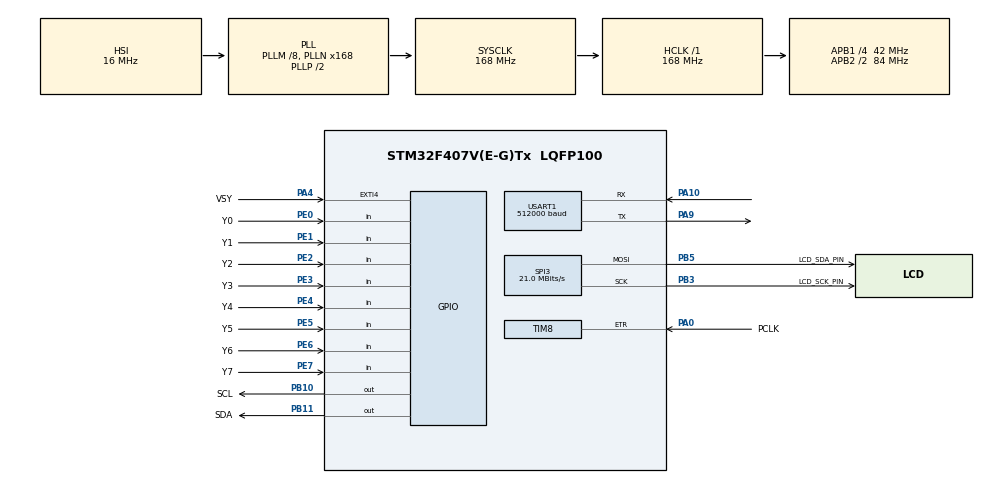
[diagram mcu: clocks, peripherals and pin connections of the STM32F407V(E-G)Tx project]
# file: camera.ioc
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Dma.Request0=TIM8_CH4/TRIG/COM
Dma.TIM8_CH4/TRIG/COM.0.Direction=DMA_PERIPH_TO_MEMORY
Dma.TIM8_CH4/TRIG/COM.0.FIFOMode=DMA_FIFOMODE_DISABLE
Dma.TIM8_CH4/TRIG/COM.0.Instance=DMA2_Stream7
Dma.TIM8_CH4/TRIG/COM.0.MemDataAlignment=DMA_MDATAALIGN_BYTE
Dma.TIM8_CH4/TRIG/COM.0.MemInc=DMA_MINC_ENABLE
Dma.TIM8_CH4/TRIG/COM.0.Mode=DMA_NORMAL
Dma.TIM8_CH4/TRIG/COM.0.PeriphDataAlignment=DMA_PDATAALIGN_BYTE
Dma.TIM8_CH4/TRIG/COM.0.PeriphInc=DMA_PINC_DISABLE
Dma.TIM8_CH4/TRIG/COM.0.Priority=DMA_PRIORITY_VERY_HIGH
Mcu.Family=STM32F4
Mcu.Name=STM32F407V(E-G)Tx
Mcu.Package=LQFP100
NVIC.DMA2_Stream7_IRQn=true\:0\:0\:false\:false\:true\:false\:true\:true
NVIC.EXTI4_IRQn=true\:0\:0\:false\:false\:true\:true\:true\:true
NVIC.PriorityGroup=NVIC_PRIORITYGROUP_4
PA0-WKUP.GPIO_Label=PCLK
PA0-WKUP.Signal=S_TIM8_ETR
PA10.Mode=Asynchronous
PA10.Signal=USART1_RX
PA13.Mode=Serial_Wire
PA13.Signal=SYS_JTMS-SWDIO
PA14.Mode=Serial_Wire
PA14.Signal=SYS_JTCK-SWCLK
PA4.GPIO_Label=VSY
PA4.GPIO_ModeDefaultEXTI=GPIO_MODE_IT_FALLING
PA4.GPIO_PuPd=GPIO_PULLUP
PA4.Signal=GPXTI4
PA9.Mode=Asynchronous
PA9.Signal=USART1_TX
PB10.GPIO_Label=SCL
PB10.GPIO_ModeDefaultOutputPP=GPIO_MODE_OUTPUT_OD
PB10.GPIO_PuPd=GPIO_PULLUP
PB10.Signal=GPIO_Output
PB11.GPIO_Label=SDA
PB11.GPIO_ModeDefaultOutputPP=GPIO_MODE_OUTPUT_OD
PB11.GPIO_PuPd=GPIO_PULLUP
PB11.Signal=GPIO_Output
PB3.GPIO_Label=LCD_SCK_PIN
PB3.Mode=TX_Only_Simplex_Unidirect_Master
PB3.Signal=SPI3_SCK
PB5.GPIO_Label=LCD_SDA_PIN
PB5.Mode=TX_Only_Simplex_Unidirect_Master
PB5.Signal=SPI3_MOSI
PC14-OSC32_IN.Mode=LSE-External-Oscillator
PC14-OSC32_IN.Signal=RCC_OSC32_IN
PC15-OSC32_OUT.Mode=LSE-External-Oscillator
PC15-OSC32_OUT.Signal=RCC_OSC32_OUT
PE0.GPIO_Label=Y0
PE0.GPIO_PuPd=GPIO_PULLUP
PE0.Signal=GPIO_Input
PE1.GPIO_Label=Y1
PE1.GPIO_PuPd=GPIO_PULLUP
PE1.Signal=GPIO_Input
PE2.GPIO_Label=Y2
PE2.GPIO_PuPd=GPIO_PULLUP
PE2.Signal=GPIO_Input
PE3.GPIO_Label=Y3
PE3.GPIO_PuPd=GPIO_PULLUP
PE3.Signal=GPIO_Input
PE4.GPIO_Label=Y4
PE4.GPIO_PuPd=GPIO_PULLUP
PE4.Signal=GPIO_Input
PE5.GPIO_Label=Y5
PE5.GPIO_PuPd=GPIO_PULLUP
PE5.Signal=GPIO_Input
PE6.GPIO_Label=Y6
PE6.GPIO_PuPd=GPIO_PULLUP
PE6.Signal=GPIO_Input
PE7.GPIO_Label=Y7
PE7.GPIO_PuPd=GPIO_PULLUP
PE7.Signal=GPIO_Input
PH0-OSC_IN.Mode=HSE-External-Oscillator
PH0-OSC_IN.Signal=RCC_OSC_IN
PH1-OSC_OUT.Mode=HSE-External-Oscillator
PH1-OSC_OUT.Signal=RCC_OSC_OUT
ProjectManager.HeapSize=0x200
ProjectManager.StackSize=0x400
ProjectManager.TargetToolchain=STM32CubeIDE
RCC.48MHZClocksFreq_Value=84000000
RCC.AHBFreq_Value=168000000
RCC.APB1CLKDivider=RCC_HCLK_DIV4
RCC.APB1Freq_Value=42000000
RCC.APB1TimFreq_Value=84000000
RCC.APB2CLKDivider=RCC_HCLK_DIV2
RCC.APB2Freq_Value=84000000
RCC.APB2TimFreq_Value=168000000
RCC.CortexFreq_Value=168000000
RCC.HCLKFreq_Value=168000000
RCC.HSE_VALUE=25000000
RCC.HSI_VALUE=16000000
RCC.PLLM=8
RCC.PLLN=168
RCC.SYSCLKFreq_VALUE=168000000
RCC.SYSCLKSource=RCC_SYSCLKSOURCE_PLLCLK
RCC.VCOOutputFreq_Value=336000000
SH.S_TIM8_ETR.0=TIM8_ETR,TriggerSource_ETR
SPI3.CalculateBaudRate=21.0 MBits/s
SPI3.Direction=SPI_DIRECTION_2LINES
SPI3.Mode=SPI_MODE_MASTER
SPI3.VirtualType=VM_MASTER
TIM8.Prescaler=0xffff
TIM8.Slave_TriggerPolarity=TIM_TRIGGERPOLARITY_INVERTED
USART1.BaudRate=512000
USART1.VirtualMode=VM_ASYNC
VP_TIM8_VS_ControllerModeTrigger.Mode=Trigger Mode
board=custom

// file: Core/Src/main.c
/* USER CODE BEGIN Header */
/**
  ******************************************************************************
  * @file           : main.c
  * @brief          : Main program body
  ******************************************************************************
  * @attention
  *
  * Copyright (c) 2024 STMicroelectronics.
  * All rights reserved.
  *
  * This software is licensed under terms that can be found in the LICENSE file
  * in the root directory of this software component.
  * If no LICENSE file comes with this software, it is provided AS-IS.
  *
  ******************************************************************************
  */
/* USER CODE END Header */
#include "main.h"
#include "dma.h"
#include "spi.h"
#include "tim.h"
#include "usart.h"
#include "gpio.h"

/* USER CODE BEGIN Includes */
#include "SEEKFREE_7725.h"
/* USER CODE END Includes */

void SystemClock_Config(void);

/* USER CODE BEGIN 0 */
void LCD_Test_Clear(void)
{
    uint8_t	i = 0;			// 计数变量

    LCD_SetTextFont(&CH_Font24);			// 设置2424中文字体,ASCII字体对应�?2412
    LCD_SetColor(LCD_BLACK);				// 设置画笔颜色

    for(i=0;i<8;i++)
    {
        switch (i)		// 切换背景�?
        {
            case 0: LCD_SetBackColor(LIGHT_RED); 		break;
            case 1: LCD_SetBackColor(LIGHT_GREEN); 	break;
            case 2: LCD_SetBackColor(LIGHT_BLUE); 		break;
            case 3: LCD_SetBackColor(LIGHT_YELLOW); 	break;
            case 4: LCD_SetBackColor(LIGHT_CYAN);		break;
            case 5: LCD_SetBackColor(LIGHT_GREY); 		break;
            case 6: LCD_SetBackColor(LIGHT_MAGENTA); 	break;
            case 7: LCD_SetBackColor(LCD_WHITE); 		break;
            default:	break;
        }
        LCD_Clear();		// 清屏
        LCD_DisplayText(13, 70,"STM32 刷屏测试");
        LCD_DisplayText(13,106,"屏幕分辨�?:240*320");
        LCD_DisplayText(13,142,"控制�?:ST7789");
        HAL_Delay(1000);	// 延时
    }
}
/* USER CODE END 0 */

int main(void)
{

  /* MCU Configuration--------------------------------------------------------*/

  /* Reset of all peripherals, Initializes the Flash interface and the Systick. */
  HAL_Init();

  /* Configure the system clock */
  SystemClock_Config();

  /* USER CODE BEGIN SysInit */
  ov7725_init();
  /* USER CODE END SysInit */

  /* Initialize all configured peripherals */
  MX_GPIO_Init();
  MX_DMA_Init();
  MX_TIM8_Init();
  MX_USART1_UART_Init();
  MX_SPI3_Init();
  /* USER CODE BEGIN 2 */
  ov7725_init();
  put_char(&huart1,0xBB);
  //DMA_NVIC_Init函数必须在ov7725初始化完成后
  //GPIO_NVIC_Init函数必须在ov7725初始化完成后
  DMA_NVIC_Init();
  GPIO_NVIC_Init();
  /* USER CODE END 2 */

  /* Infinite loop */
  /* USER CODE BEGIN WHILE */
  while (1)
  {
      LCD_Test_Clear();
      /*if(ov7725_finish_flag == 1)
      {
          ov7725_finish_flag = 0;							//图像标志位置0
          seekfree_sendimg_7725(image_bin,OV7725_SIZE);	//发�?�图像到上位�??
      }*/
    /* USER CODE END WHILE */

  }
}

void SystemClock_Config(void)
{
  RCC_OscInitTypeDef RCC_OscInitStruct = {0};
  RCC_ClkInitTypeDef RCC_ClkInitStruct = {0};

  /** Configure the main internal regulator output voltage
  */
  __HAL_RCC_PWR_CLK_ENABLE();
  __HAL_PWR_VOLTAGESCALING_CONFIG(PWR_REGULATOR_VOLTAGE_SCALE1);

  /** Initializes the RCC Oscillators according to the specified parameters
  * in the RCC_OscInitTypeDef structure.
  */
  RCC_OscInitStruct.OscillatorType = RCC_OSCILLATORTYPE_HSI;
  RCC_OscInitStruct.HSIState = RCC_HSI_ON;
  RCC_OscInitStruct.HSICalibrationValue = RCC_HSICALIBRATION_DEFAULT;
  RCC_OscInitStruct.PLL.PLLState = RCC_PLL_ON;
  RCC_OscInitStruct.PLL.PLLSource = RCC_PLLSOURCE_HSI;
  RCC_OscInitStruct.PLL.PLLM = 8;
  RCC_OscInitStruct.PLL.PLLN = 168;
  RCC_OscInitStruct.PLL.PLLP = RCC_PLLP_DIV2;
  RCC_OscInitStruct.PLL.PLLQ = 4;
  if (HAL_RCC_OscConfig(&RCC_OscInitStruct) != HAL_OK)
  {
    Error_Handler();
  }

  /** Initializes the CPU, AHB and APB buses clocks
  */
  RCC_ClkInitStruct.ClockType = RCC_CLOCKTYPE_HCLK|RCC_CLOCKTYPE_SYSCLK
                              |RCC_CLOCKTYPE_PCLK1|RCC_CLOCKTYPE_PCLK2;
  RCC_ClkInitStruct.SYSCLKSource = RCC_SYSCLKSOURCE_PLLCLK;
  RCC_ClkInitStruct.AHBCLKDivider = RCC_SYSCLK_DIV1;
  RCC_ClkInitStruct.APB1CLKDivider = RCC_HCLK_DIV4;
  RCC_ClkInitStruct.APB2CLKDivider = RCC_HCLK_DIV2;

  if (HAL_RCC_ClockConfig(&RCC_ClkInitStruct, FLASH_LATENCY_5) != HAL_OK)
  {
    Error_Handler();
  }
}

void Error_Handler(void)
{
  __disable_irq();
  while (1)
  {
  }
}
